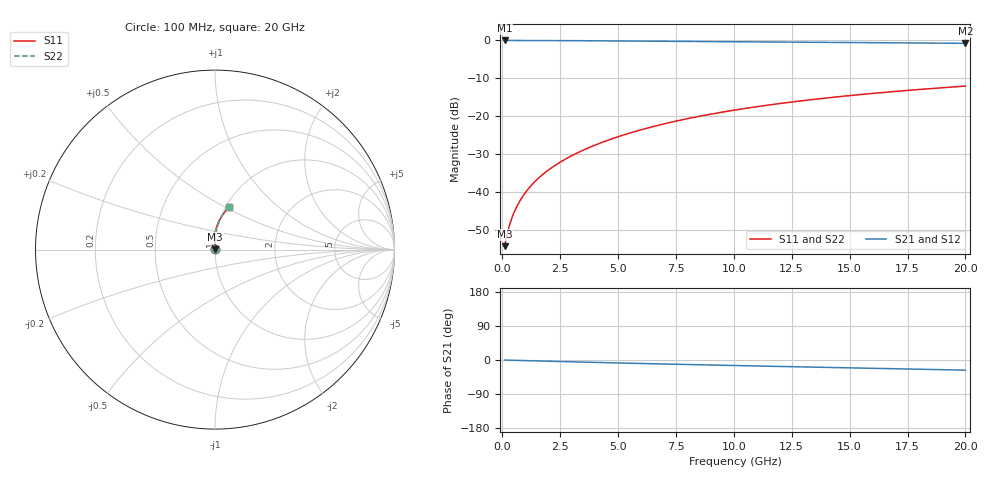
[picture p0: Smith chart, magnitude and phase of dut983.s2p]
! Touchstone file exported from HFSS 2024.1.0
!  File:  C:/UserFiles/LocalFiles/RDL_TSV_Batchsim/temp_RDL_bottom_983_1779943596.aedt
!  Generated:  12:49:01 PM May 28, 2026
!  Design:  RDL_bottom
!  Project:  temp_RDL_bottom_983_1779943596
!  Setup:  Setup1
!  Solution:  Sweep
! Variables:
!  dtsv = 10.80580581um
!  hbump = 3um
!  htsv = 53.05um
!  ldown = 372.64um
!  lrdl = 100um
!  p = 40
!  p1 = 52.76um
!  rhole = 1um
!  t = 450um
!  tdown = 3.53um
!  trdl = 3.915915916um
!  wdown = 27.4um
!  wrdl = 20um
# GHz S MA R 50.000000
! Terminal data exported
! Port[1] = RDL1_T1
! Port[2] = RDL1_T2
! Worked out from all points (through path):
!   200 points, 100 MHz to 20 GHz, reference 50 ohm
!   highest |S21| = -0.01 dB at 100 MHz (marker M1); lowest = -0.8 dB at 20 GHz (marker M2)
!   group delay of S21, straight-line fit = 3.66 ps
!   lowest |S11| = -54.2 dB at 100 MHz (marker M3), VSWR 1.00, Z = 50.2 + j0.111 ohm
!   |S11| at or under -10 dB: start of sweep to end of sweep
!   |S22| runs from -54.2 to -12.0 dB; largest |S21 - S12| = 2e-15
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0.1  0.001959 34.6  0.9984 -0.2  0.9984 -0.2  0.001959 34.6
! Gamma 0 0 0 0
! Port Impedance 50 0 50 0
0.2  0.00275 51.5  0.9982 -0.3  0.9982 -0.3  0.00275 51.5
0.3  0.00361 60.2  0.9981 -0.5  0.9981 -0.5  0.00361 60.2
0.4  0.004482 65.7  0.998 -0.7  0.998 -0.7  0.004482 65.7
0.5  0.005364 69.6  0.9978 -0.8  0.9978 -0.8  0.005364 69.6
0.6  0.006257 72.6  0.9977 -1.0  0.9977 -1.0  0.006258 72.6
0.8  0.008082 76.9  0.9975 -1.3  0.9975 -1.3  0.008082 76.9
1.1  0.0109 81.0  0.997 -1.8  0.997 -1.8  0.0109 81.0
1.3  0.01282 82.9  0.9967 -2.1  0.9967 -2.1  0.01282 82.9
1.6  0.01576 85.0  0.996 -2.6  0.996 -2.6  0.01576 85.0
2.1  0.02081 87.4  0.9948 -3.4  0.9948 -3.4  0.02081 87.4
2.7  0.02713 89.3  0.9929 -4.4  0.9929 -4.4  0.02713 89.3
3.5  0.03601 90.7  0.9899 -5.6  0.9899 -5.6  0.03601 90.7
4.2  0.04419 91.2  0.987 -6.6  0.987 -6.6  0.0442 91.3
5  0.05398 91.4  0.9834 -7.8  0.9834 -7.8  0.05399 91.4
5.9  0.06543 91.1  0.9791 -9.1  0.9791 -9.1  0.06545 91.1
6.8  0.07726 90.4  0.9748 -10.3  0.9748 -10.3  0.07727 90.4
8.4  0.09883 88.5  0.9672 -12.5  0.9672 -12.5  0.09885 88.6
10.1  0.1221 86.2  0.9593 -14.7  0.9593 -14.7  0.1221 86.2
13.4  0.1667 81.2  0.9447 -18.8  0.9447 -18.8  0.1668 81.2
16.7  0.2096 76.3  0.9304 -22.8  0.9304 -22.8  0.2097 76.3
20  0.2502 71.5  0.916 -26.8  0.916 -26.8  0.2503 71.5
